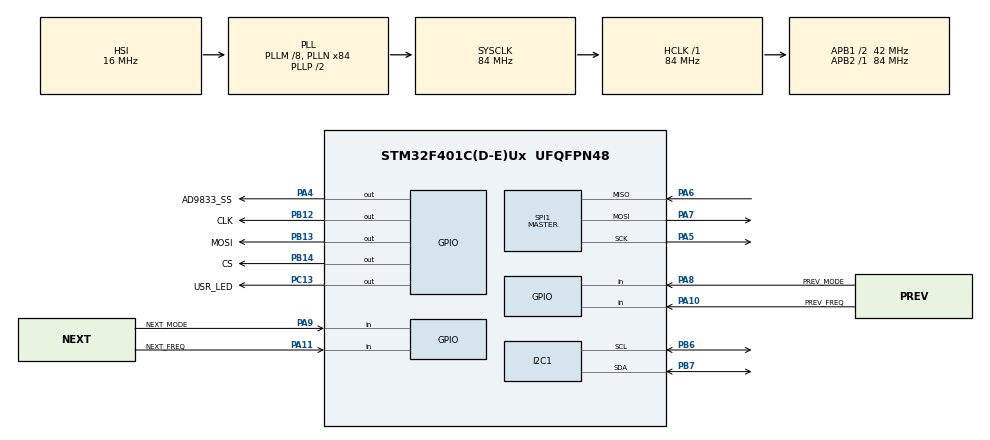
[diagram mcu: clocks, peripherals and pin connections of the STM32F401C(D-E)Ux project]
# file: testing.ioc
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I2C1.I2C_Mode=I2C_Fast
Mcu.Family=STM32F4
Mcu.Name=STM32F401C(D-E)Ux
Mcu.Package=UFQFPN48
NVIC.PriorityGroup=NVIC_PRIORITYGROUP_4
PA10.GPIO_Label=PREV_FREQ
PA10.GPIO_PuPd=GPIO_PULLDOWN
PA10.Signal=GPIO_Input
PA11.GPIO_Label=NEXT_FREQ
PA11.GPIO_PuPd=GPIO_PULLDOWN
PA11.Signal=GPIO_Input
PA13.Mode=Serial_Wire
PA13.Signal=SYS_JTMS-SWDIO
PA14.Mode=Serial_Wire
PA14.Signal=SYS_JTCK-SWCLK
PA4.GPIO_Label=AD9833_SS
PA4.GPIO_PuPd=GPIO_PULLDOWN
PA4.PinState=GPIO_PIN_RESET
PA4.Signal=GPIO_Output
PA5.Mode=Full_Duplex_Master
PA5.Signal=SPI1_SCK
PA6.Mode=Full_Duplex_Master
PA6.Signal=SPI1_MISO
PA7.Mode=Full_Duplex_Master
PA7.Signal=SPI1_MOSI
PA8.GPIO_Label=PREV_MODE
PA8.GPIO_PuPd=GPIO_PULLDOWN
PA8.Signal=GPIO_Input
PA9.GPIO_Label=NEXT_MODE
PA9.GPIO_PuPd=GPIO_PULLDOWN
PA9.Signal=GPIO_Input
PB12.GPIO_Label=CLK
PB12.GPIO_PuPd=GPIO_PULLDOWN
PB12.Signal=GPIO_Output
PB13.GPIO_Label=MOSI
PB13.GPIO_PuPd=GPIO_PULLDOWN
PB13.Signal=GPIO_Output
PB14.GPIO_Label=CS
PB14.GPIO_PuPd=GPIO_PULLDOWN
PB14.Signal=GPIO_Output
PB6.Mode=I2C
PB6.Signal=I2C1_SCL
PB7.Mode=I2C
PB7.Signal=I2C1_SDA
PC13-ANTI_TAMP.GPIO_Label=USR_LED
PC13-ANTI_TAMP.PinState=GPIO_PIN_SET
PC13-ANTI_TAMP.Signal=GPIO_Output
PH0\ -\ OSC_IN.Mode=HSE-External-Oscillator
PH0\ -\ OSC_IN.Signal=RCC_OSC_IN
PH1\ -\ OSC_OUT.Mode=HSE-External-Oscillator
PH1\ -\ OSC_OUT.Signal=RCC_OSC_OUT
ProjectManager.HeapSize=0x200
ProjectManager.StackSize=0x400
ProjectManager.TargetToolchain=STM32CubeIDE
RCC.48MHZClocksFreq_Value=42000000
RCC.AHBFreq_Value=84000000
RCC.APB1CLKDivider=RCC_HCLK_DIV2
RCC.APB1Freq_Value=42000000
RCC.APB1TimFreq_Value=84000000
RCC.APB2Freq_Value=84000000
RCC.APB2TimFreq_Value=84000000
RCC.CortexFreq_Value=84000000
RCC.HCLKFreq_Value=84000000
RCC.HSE_VALUE=25000000
RCC.HSI_VALUE=16000000
RCC.LSE_VALUE=32768
RCC.PLLM=8
RCC.PLLN=84
RCC.SYSCLKFreq_VALUE=84000000
RCC.SYSCLKSource=RCC_SYSCLKSOURCE_PLLCLK
RCC.VCOOutputFreq_Value=168000000
SPI1.BaudRatePrescaler=SPI_BAUDRATEPRESCALER_4
SPI1.DataSize=SPI_DATASIZE_16BIT
SPI1.Direction=SPI_DIRECTION_2LINES
SPI1.Mode=SPI_MODE_MASTER
SPI1.VirtualType=VM_MASTER
board=custom

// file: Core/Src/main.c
/* USER CODE BEGIN Header */
/**
  ******************************************************************************
  * @file           : main.c
  * @brief          : Main program body
  ******************************************************************************
  * @attention
  *
  * Copyright (c) 2024 STMicroelectronics.
  * All rights reserved.
  *
  * This software is licensed under terms that can be found in the LICENSE file
  * in the root directory of this software component.
  * If no LICENSE file comes with this software, it is provided AS-IS.
  *
  ******************************************************************************
  */
/* USER CODE END Header */
#include "main.h"

/* USER CODE BEGIN Includes */
#include "ssd1306.h"
#include "ssd1306_fonts.h"
#include "ssd1306_tests.h"
#include <stdio.h>
/* USER CODE END Includes */

/* USER CODE BEGIN PD */
#define F_MCLK 25000000

#define CONTROL_SINE    0x2000  // Command for FREQ0, Sine Wave (Mode = 0)
#define CONTROL_TRIANGLE 0x2002  // Command for FREQ0, Triangle Wave (Mode = 1)
#define CONTROL_SQUARE  0x2028  // Command for FREQ0, Square Wave (Mode = 0, OPBITEN = 1, DIV/2 = 1)
// For reset set second nibble to 1

#define WRITE_RESET		0x2100 // Command reset bits and write 16bit words
#define CLEAN_RESET 	0x2000 // Clear reset bit

/* USER CODE END PD */

I2C_HandleTypeDef hi2c1;

SPI_HandleTypeDef hspi1;

/* USER CODE BEGIN PV */
// Waveform modes
const char *modes[] = {"Sine", "Triangle", "Meander"};
const uint16_t mode_commands[] = {CONTROL_SINE, CONTROL_TRIANGLE, CONTROL_SQUARE};
const uint8_t num_modes = sizeof(modes) / sizeof(modes[0]);
uint8_t current_mode = 0;

// Frequencies in Hz
const char *freq_str[] = {"1 Hz", "10 Hz", "100 Hz", "1 000 Hz", "10 000 Hz", "100 000 Hz", "1 000 000 Hz"};
const uint32_t frequencies[] = {1, 10, 100, 1000, 10000, 100000, 1000000};
const uint8_t num_frequencies = sizeof(frequencies) / sizeof(frequencies[0]);
uint8_t current_frequency = 3;

#define DEBOUNCE_DELAY 200
#define SEND_DELAY 3000
uint32_t last_button_press = 0;

typedef uint8_t bool;
#define true 1
#define false 0

bool data_sent = true;
/* USER CODE END PV */

void SystemClock_Config(void);
static void MX_GPIO_Init(void);
static void MX_I2C1_Init(void);
static void MX_SPI1_Init(void);

int main(void)
{

  /* MCU Configuration--------------------------------------------------------*/

  /* Reset of all peripherals, Initializes the Flash interface and the Systick. */
  HAL_Init();

  /* Configure the system clock */
  SystemClock_Config();

  /* Initialize all configured peripherals */
  MX_GPIO_Init();
  MX_I2C1_Init();
  MX_SPI1_Init();
  /* USER CODE BEGIN 2 */
  ssd1306_Init();
  update_screen();
  AD9833_SetFrequencyAndMode(frequencies[current_frequency], 60, mode_commands[current_mode]);
  /* USER CODE END 2 */

  /* Infinite loop */
  /* USER CODE BEGIN WHILE */
  while (1)
  {

	  handle_buttons();
	  if ((HAL_GetTick() - last_button_press >= SEND_DELAY) && !data_sent) {
		  AD9833_SetFrequencyAndMode(frequencies[current_frequency], 60, mode_commands[current_mode]);
		  data_sent = true;  // Mark data as sent to prevent repeated transmission

		  ssd1306_Fill(Black);
		  ssd1306_SetCursor(0, 30);
		  ssd1306_WriteString("Config changed", Font_7x10, White);
		  ssd1306_UpdateScreen();
		  HAL_Delay(1000);

		  update_screen();
	  }

    /* USER CODE END WHILE */

  }
}

void SystemClock_Config(void)
{
  RCC_OscInitTypeDef RCC_OscInitStruct = {0};
  RCC_ClkInitTypeDef RCC_ClkInitStruct = {0};

  /** Configure the main internal regulator output voltage
  */
  __HAL_RCC_PWR_CLK_ENABLE();
  __HAL_PWR_VOLTAGESCALING_CONFIG(PWR_REGULATOR_VOLTAGE_SCALE2);

  /** Initializes the RCC Oscillators according to the specified parameters
  * in the RCC_OscInitTypeDef structure.
  */
  RCC_OscInitStruct.OscillatorType = RCC_OSCILLATORTYPE_HSI;
  RCC_OscInitStruct.HSIState = RCC_HSI_ON;
  RCC_OscInitStruct.HSICalibrationValue = RCC_HSICALIBRATION_DEFAULT;
  RCC_OscInitStruct.PLL.PLLState = RCC_PLL_ON;
  RCC_OscInitStruct.PLL.PLLSource = RCC_PLLSOURCE_HSI;
  RCC_OscInitStruct.PLL.PLLM = 8;
  RCC_OscInitStruct.PLL.PLLN = 84;
  RCC_OscInitStruct.PLL.PLLP = RCC_PLLP_DIV2;
  RCC_OscInitStruct.PLL.PLLQ = 4;
  if (HAL_RCC_OscConfig(&RCC_OscInitStruct) != HAL_OK)
  {
    Error_Handler();
  }

  /** Initializes the CPU, AHB and APB buses clocks
  */
  RCC_ClkInitStruct.ClockType = RCC_CLOCKTYPE_HCLK|RCC_CLOCKTYPE_SYSCLK
                              |RCC_CLOCKTYPE_PCLK1|RCC_CLOCKTYPE_PCLK2;
  RCC_ClkInitStruct.SYSCLKSource = RCC_SYSCLKSOURCE_PLLCLK;
  RCC_ClkInitStruct.AHBCLKDivider = RCC_SYSCLK_DIV1;
  RCC_ClkInitStruct.APB1CLKDivider = RCC_HCLK_DIV2;
  RCC_ClkInitStruct.APB2CLKDivider = RCC_HCLK_DIV1;

  if (HAL_RCC_ClockConfig(&RCC_ClkInitStruct, FLASH_LATENCY_2) != HAL_OK)
  {
    Error_Handler();
  }
}

static void MX_I2C1_Init(void)
{

  hi2c1.Instance = I2C1;
  hi2c1.Init.ClockSpeed = 400000;
  hi2c1.Init.DutyCycle = I2C_DUTYCYCLE_2;
  hi2c1.Init.OwnAddress1 = 0;
  hi2c1.Init.AddressingMode = I2C_ADDRESSINGMODE_7BIT;
  hi2c1.Init.DualAddressMode = I2C_DUALADDRESS_DISABLE;
  hi2c1.Init.OwnAddress2 = 0;
  hi2c1.Init.GeneralCallMode = I2C_GENERALCALL_DISABLE;
  hi2c1.Init.NoStretchMode = I2C_NOSTRETCH_DISABLE;
  if (HAL_I2C_Init(&hi2c1) != HAL_OK)
  {
    Error_Handler();
  }

}

static void MX_SPI1_Init(void)
{

  /* SPI1 parameter configuration*/
  hspi1.Instance = SPI1;
  hspi1.Init.Mode = SPI_MODE_MASTER;
  hspi1.Init.Direction = SPI_DIRECTION_2LINES;
  hspi1.Init.DataSize = SPI_DATASIZE_16BIT;
  hspi1.Init.CLKPolarity = SPI_POLARITY_LOW;
  hspi1.Init.CLKPhase = SPI_PHASE_1EDGE;
  hspi1.Init.NSS = SPI_NSS_SOFT;
  hspi1.Init.BaudRatePrescaler = SPI_BAUDRATEPRESCALER_4;
  hspi1.Init.FirstBit = SPI_FIRSTBIT_MSB;
  hspi1.Init.TIMode = SPI_TIMODE_DISABLE;
  hspi1.Init.CRCCalculation = SPI_CRCCALCULATION_DISABLE;
  hspi1.Init.CRCPolynomial = 10;
  if (HAL_SPI_Init(&hspi1) != HAL_OK)
  {
    Error_Handler();
  }

}

static void MX_GPIO_Init(void)
{
  GPIO_InitTypeDef GPIO_InitStruct = {0};

  /* GPIO Ports Clock Enable */
  __HAL_RCC_GPIOC_CLK_ENABLE();
  __HAL_RCC_GPIOH_CLK_ENABLE();
  __HAL_RCC_GPIOA_CLK_ENABLE();
  __HAL_RCC_GPIOB_CLK_ENABLE();

  /*Configure GPIO pin Output Level */
  HAL_GPIO_WritePin(USR_LED_GPIO_Port, USR_LED_Pin, GPIO_PIN_SET);

  /*Configure GPIO pin Output Level */
  HAL_GPIO_WritePin(AD9833_SS_GPIO_Port, AD9833_SS_Pin, GPIO_PIN_RESET);

  /*Configure GPIO pin Output Level */
  HAL_GPIO_WritePin(GPIOB, CLK_Pin|MOSI_Pin|CS_Pin, GPIO_PIN_RESET);

  /*Configure GPIO pin : USR_LED_Pin */
  GPIO_InitStruct.Pin = USR_LED_Pin;
  GPIO_InitStruct.Mode = GPIO_MODE_OUTPUT_PP;
  GPIO_InitStruct.Pull = GPIO_NOPULL;
  GPIO_InitStruct.Speed = GPIO_SPEED_FREQ_LOW;
  HAL_GPIO_Init(USR_LED_GPIO_Port, &GPIO_InitStruct);

  /*Configure GPIO pin : AD9833_SS_Pin */
  GPIO_InitStruct.Pin = AD9833_SS_Pin;
  GPIO_InitStruct.Mode = GPIO_MODE_OUTPUT_PP;
  GPIO_InitStruct.Pull = GPIO_PULLDOWN;
  GPIO_InitStruct.Speed = GPIO_SPEED_FREQ_LOW;
  HAL_GPIO_Init(AD9833_SS_GPIO_Port, &GPIO_InitStruct);

  /*Configure GPIO pins : CLK_Pin MOSI_Pin CS_Pin */
  GPIO_InitStruct.Pin = CLK_Pin|MOSI_Pin|CS_Pin;
  GPIO_InitStruct.Mode = GPIO_MODE_OUTPUT_PP;
  GPIO_InitStruct.Pull = GPIO_PULLDOWN;
  GPIO_InitStruct.Speed = GPIO_SPEED_FREQ_LOW;
  HAL_GPIO_Init(GPIOB, &GPIO_InitStruct);

  /*Configure GPIO pins : PREV_MODE_Pin NEXT_MODE_Pin PREV_FREQ_Pin NEXT_FREQ_Pin */
  GPIO_InitStruct.Pin = PREV_MODE_Pin|NEXT_MODE_Pin|PREV_FREQ_Pin|NEXT_FREQ_Pin;
  GPIO_InitStruct.Mode = GPIO_MODE_INPUT;
  GPIO_InitStruct.Pull = GPIO_PULLDOWN;
  HAL_GPIO_Init(GPIOA, &GPIO_InitStruct);

}

/* USER CODE BEGIN 4 */
void AD9833_Write(uint16_t data) {
    // Transmit 16-bit data
	  GPIOB->BSRR = CLK_Pin;
	  GPIOB->BSRR = CS_Pin<<16;
	  for(uint8_t i=0;i<16;i++){
	    if(data & 0x8000){GPIOB->BSRR = MOSI_Pin;}
	    else{GPIOB->BSRR = MOSI_Pin<<16;}

	    GPIOB->BSRR = CLK_Pin<<16;
	    data = data<<1;
	    if(data & 0x8000){}
	    GPIOB->BSRR = CLK_Pin;
	  }
	  GPIOB->BSRR = CS_Pin;
	  GPIOB->BSRR = MOSI_Pin<<16;
}

void AD9833_SetFrequencyAndMode(uint32_t frequency, uint8_t phase, uint16_t mode) {
	uint64_t freq_word = (uint64_t)((double)frequency / F_MCLK * (1ULL << 28));

    uint16_t freq_msb = (uint16_t)((freq_word & 0xFFFC000) >> 14);  // Upper 14 bits (MSB)
    uint16_t freq_lsb = (uint16_t)(freq_word & 0x3FFF);  // Lower 14 bits (LSB)

    // 1. Write the control command
    AD9833_Write(mode);

    // 2. Write to FREQ0 LSB
    uint16_t command_lsb = 0x4000 | freq_lsb; // 0x4000 selects FREQ0, LSB
    AD9833_Write(command_lsb);  // Send LSB

    // 3. Write to FREQ0 MSB
    uint16_t command_msb = 0x4000 | freq_msb; // 0x4000 selects FREQ0, MSB
    AD9833_Write(command_msb);  // Send MSB

    uint16_t phase_word = (phase*(4096/360))|0xC000;

	// 4. Write to PHASE0
	AD9833_Write(phase_word);  // Send LSB
}

void update_screen(void) {
  ssd1306_Fill(Black);
  ssd1306_SetCursor(0, 0);
  ssd1306_WriteString("Waveform:", Font_7x10, White);
  ssd1306_WriteString(modes[current_mode], Font_7x10, White);

  ssd1306_SetCursor(0, 30);
  ssd1306_WriteString("Freq:", Font_7x10, White);
  ssd1306_WriteString(freq_str[current_frequency], Font_7x10, White);

  ssd1306_UpdateScreen();
}

void handle_buttons(void) {
	uint32_t current_time = HAL_GetTick();

	 if ((current_time - last_button_press) < DEBOUNCE_DELAY) {
		 return;
	 }

	 if (HAL_GPIO_ReadPin(BUTTONS_Port, PREV_MODE_Pin) == GPIO_PIN_SET) {
		 current_mode = (current_mode == 0) ? num_modes - 1 : current_mode - 1;
		 update_screen();
		 last_button_press = current_time;
		 data_sent = false;
	 } else if (HAL_GPIO_ReadPin(BUTTONS_Port, NEXT_MODE_Pin) == GPIO_PIN_SET) {
		 current_mode = (current_mode + 1) % num_modes;
		 update_screen();
		 last_button_press = current_time;
		 data_sent = false;
	 } else if (HAL_GPIO_ReadPin(BUTTONS_Port, PREV_FREQ_Pin) == GPIO_PIN_SET) {
		 if (current_frequency == 0) return;
		 current_frequency = current_frequency - 1;
		 update_screen();
		 last_button_press = current_time;
		 data_sent = false;
	 } else if (HAL_GPIO_ReadPin(BUTTONS_Port, NEXT_FREQ_Pin) == GPIO_PIN_SET) {
		 if (current_frequency == num_frequencies - 1) return;
		 current_frequency = current_frequency + 1;
		 update_screen();
		 last_button_press = current_time;
		 data_sent = false;
	 }
}
/* USER CODE END 4 */

void Error_Handler(void)
{
  __disable_irq();
  while (1)
  {
  }
}
